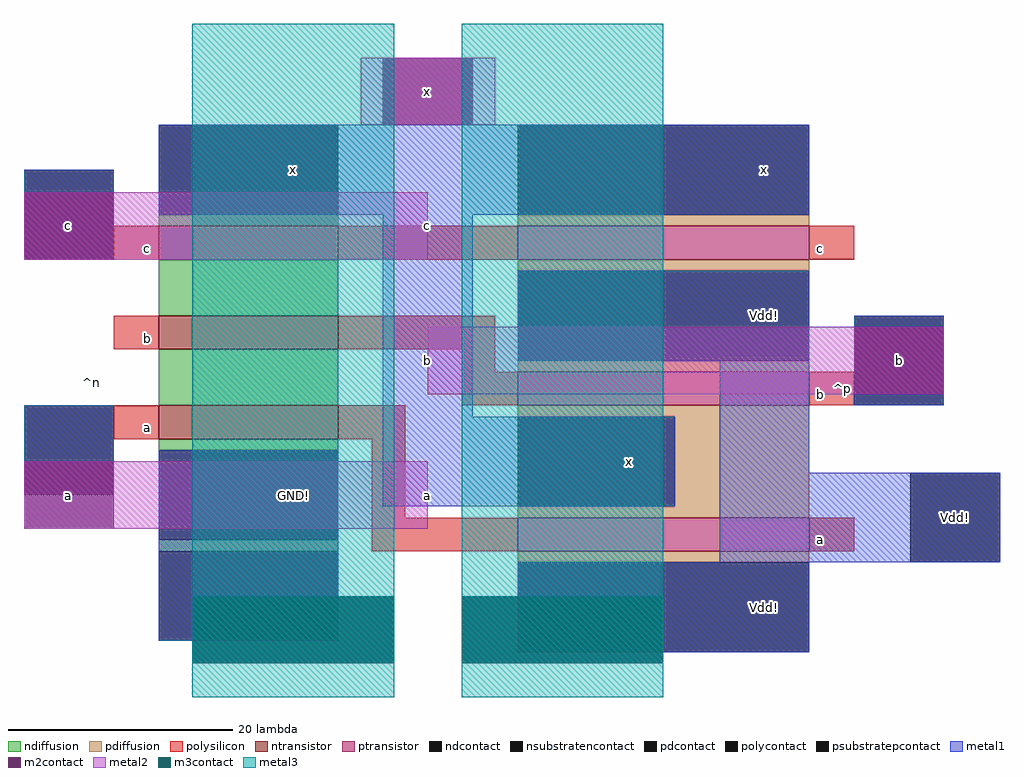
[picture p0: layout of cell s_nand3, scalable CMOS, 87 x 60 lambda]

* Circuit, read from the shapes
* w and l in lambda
.subckt s_nand3 GND! Vdd! a b c x
M1 n1 a GND! GND! nfet w=16 l=3
M2 n2 b n1 GND! nfet w=16 l=3
M3 x c n2 GND! nfet w=16 l=3
M4 x a Vdd! Vdd! pfet w=26 l=3
M5 Vdd! b x Vdd! pfet w=26 l=3
M6 x c Vdd! Vdd! pfet w=26 l=3
.ends

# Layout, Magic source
magic
tech scmos
<< ndiffusion >>
rect -24 516 -8 517
rect -24 508 -8 513
rect -24 500 -8 505
rect -24 496 -8 497
rect -24 487 -8 488
<< pdiffusion >>
rect 8 516 34 517
rect 8 512 34 513
rect 8 503 34 504
rect 8 499 34 500
rect 22 491 34 499
rect 8 490 34 491
rect 8 486 34 487
<< ntransistor >>
rect -24 513 -8 516
rect -24 505 -8 508
rect -24 497 -8 500
<< ptransistor >>
rect 8 513 34 516
rect 8 500 34 503
rect 8 487 34 490
<< polysilicon >>
rect -28 513 -24 516
rect -8 513 8 516
rect 34 513 38 516
rect -28 505 -24 508
rect -8 505 6 508
rect 3 503 6 505
rect 3 500 8 503
rect 34 500 38 503
rect -28 497 -24 500
rect -8 497 -2 500
rect -5 490 -2 497
rect -5 487 8 490
rect 34 487 38 490
<< ndcontact >>
rect -24 517 -8 525
rect -24 488 -8 496
<< pdcontact >>
rect 8 517 34 525
rect 8 504 34 512
rect 8 491 22 499
rect 8 478 34 486
<< psubstratepcontact >>
rect -24 479 -8 487
<< nsubstratencontact >>
rect 43 486 51 494
<< polycontact >>
rect -36 513 -28 521
rect 38 500 46 508
rect -36 492 -28 500
<< metal1 >>
rect -36 519 -28 521
rect -24 517 34 525
rect -36 495 -28 500
rect -4 499 4 517
rect 8 504 34 512
rect -24 483 -8 496
rect -4 491 22 499
rect 26 494 34 504
rect 38 507 46 508
rect 38 500 46 501
rect 26 486 51 494
rect 8 483 34 486
rect -24 479 -21 483
rect 21 478 34 483
<< m2contact >>
rect -4 525 4 531
rect -36 513 -28 519
rect -36 489 -28 495
rect 38 501 46 507
rect -21 477 -3 483
rect 3 477 21 483
<< metal2 >>
rect -6 525 6 531
rect -36 513 0 519
rect 0 501 46 507
rect -36 489 0 495
<< m3contact >>
rect -21 477 -3 483
rect 3 477 21 483
<< metal3 >>
rect -21 474 -3 534
rect 3 474 21 534
<< labels >>
rlabel metal2 0 489 0 495 7 a
rlabel metal2 0 501 0 507 3 b
rlabel metal2 0 513 0 519 7 c
rlabel metal2 0 528 0 528 1 x
rlabel metal1 30 508 30 508 5 Vdd!
rlabel metal1 30 482 30 482 1 Vdd!
rlabel polysilicon 35 501 35 501 1 b
rlabel polysilicon 35 488 35 488 1 a
rlabel metal1 30 521 30 521 5 x
rlabel polysilicon 35 514 35 514 1 c
rlabel metal1 18 495 18 495 1 x
rlabel space 22 477 52 526 3 ^p
rlabel metal1 47 490 47 490 7 Vdd!
rlabel polysilicon -25 514 -25 514 3 c
rlabel polysilicon -25 506 -25 506 3 b
rlabel polysilicon -25 498 -25 498 3 a
rlabel metal1 -12 492 -12 492 1 GND!
rlabel metal1 -12 521 -12 521 1 x
rlabel space -37 478 -23 526 7 ^n
rlabel metal2 -32 516 -32 516 3 c
rlabel metal2 -32 492 -32 492 3 a
rlabel metal2 42 504 42 504 1 b
<< end >>
